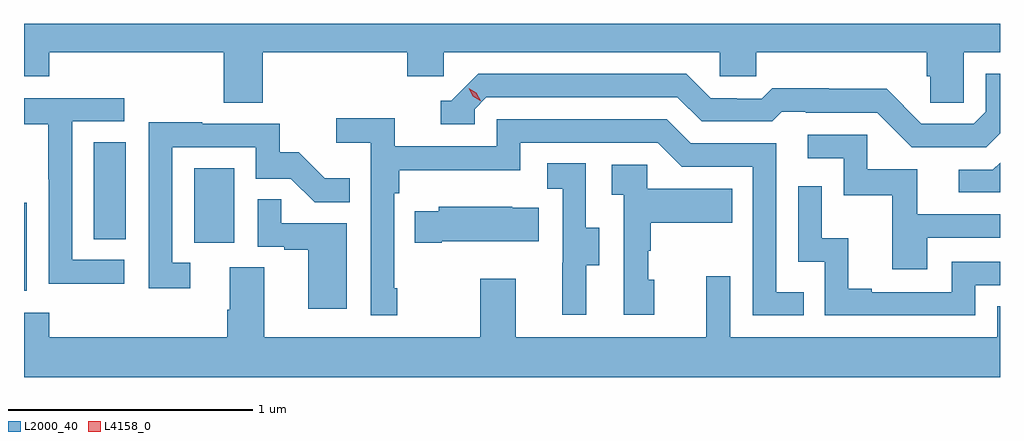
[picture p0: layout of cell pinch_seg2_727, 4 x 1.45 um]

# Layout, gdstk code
import gdstk
lib = gdstk.Library(unit=1e-6, precision=1e-09)
def R(c, l, rs):  # rectangles x0, y0, x1, y1
    for r in rs: c.add(gdstk.rectangle(r[:2], r[2:], *l))
def P(c, l, *ps):  # polygons
    for p in ps: c.add(gdstk.Polygon(p, *l))
L2000_40 = (2000, 40)
L4158_0 = (4158, 0)

pinch_seg2_727 = lib.new_cell('pinch_seg2_727')
R(pinch_seg2_727, L2000_40, [(884.569,665.306,884.581,665.667), (885.266,665.502,885.43,665.809), (884.855,665.518,884.986,665.915)])
P(pinch_seg2_727, L2000_40, [(885.548,666.284),(886.139,666.284),(886.139,666.186),(886.29,666.186),(886.29,666.284),(887.421,666.284),(887.421,666.186),(887.571,666.186),(887.571,666.284),(888.269,666.284),(888.269,666.186),(888.283,666.186),(888.283,666.076),(888.42,666.076),(888.42,666.284),(888.569,666.284),(888.569,666.4),(884.569,666.4),(884.569,666.185),(884.672,666.185),(884.672,666.284),(885.388,666.284),(885.388,666.076),(885.548,666.076)],
  [(888.569,665.951),(888.569,666.195),(888.51,666.195),(888.51,666.039),(888.462,665.991),(888.246,665.991),(888.104,666.133),(887.868,666.133),(887.868,666.136),(887.635,666.136),(887.593,666.093),(887.49,666.093),(887.49,666.096),(887.383,666.096),(887.284,666.195),(886.431,666.195),(886.32,666.084),(886.277,666.084),(886.277,665.988),(886.416,665.988),(886.416,666.051),(886.464,666.099),(887.247,666.099),(887.346,666),(887.635,666),(887.674,666.039),(887.773,666.039),(887.773,666.036),(888.066,666.036),(888.207,665.895),(888.513,665.895)],
  [(884.98,665.433),(884.766,665.433),(884.766,666),(884.98,666),(884.98,666.096),(884.569,666.096),(884.569,665.988),(884.668,665.988),(884.668,665.764),(884.67,665.764),(884.67,665.335),(884.98,665.335)],
  [(886.099,665.317),(886.086,665.317),(886.086,665.705),(886.106,665.705),(886.106,665.801),(886.602,665.801),(886.602,665.913),(887.166,665.913),(887.265,665.814),(887.556,665.814),(887.556,665.205),(887.765,665.205),(887.765,665.301),(887.652,665.301),(887.652,665.91),(887.302,665.91),(887.203,666.009),(886.506,666.009),(886.506,665.898),(886.088,665.898),(886.088,666.014),(885.849,666.014),(885.849,665.912),(885.99,665.912),(885.99,665.205),(886.099,665.205)],
  [(885.25,665.421),(885.177,665.421),(885.177,665.895),(885.519,665.895),(885.519,665.766),(885.663,665.766),(885.761,665.668),(885.905,665.668),(885.905,665.767),(885.801,665.767),(885.694,665.874),(885.618,665.874),(885.618,665.991),(885.299,665.991),(885.299,665.996),(885.081,665.996),(885.081,665.316),(885.25,665.316)],
  [(888.271,665.523),(888.569,665.523),(888.569,665.619),(888.229,665.619),(888.229,665.805),(888.024,665.805),(888.024,665.946),(887.781,665.946),(887.781,665.85),(887.928,665.85),(887.928,665.697),(888.127,665.697),(888.127,665.394),(888.271,665.394)],
  [(888.569,665.831),(888.54,665.802),(888.399,665.802),(888.399,665.709),(888.569,665.709)],
  [(886.873,665.41),(886.927,665.41),(886.927,665.565),(886.872,665.565),(886.872,665.828),(886.713,665.828),(886.713,665.725),(886.776,665.725),(886.776,665.421),(886.775,665.421),(886.775,665.208),(886.873,665.208)],
  [(887.152,665.352),(887.127,665.352),(887.127,665.471),(887.137,665.471),(887.137,665.585),(887.471,665.585),(887.471,665.725),(887.124,665.725),(887.124,665.823),(886.977,665.823),(886.977,665.699),(887.028,665.699),(887.028,665.208),(887.152,665.208)],
  [(888.468,665.328),(888.569,665.328),(888.569,665.424),(888.372,665.424),(888.372,665.301),(888.043,665.301),(888.043,665.314),(887.948,665.314),(887.948,665.522),(887.838,665.522),(887.838,665.734),(887.742,665.734),(887.742,665.424),(887.85,665.424),(887.85,665.205),(888.468,665.205)],
  [(885.892,665.583),(885.623,665.583),(885.623,665.681),(885.528,665.681),(885.528,665.487),(885.635,665.487),(885.635,665.475),(885.734,665.475),(885.734,665.232),(885.892,665.232)],
  [(886.282,665.51),(886.679,665.51),(886.679,665.647),(886.571,665.647),(886.571,665.65),(886.269,665.65),(886.269,665.632),(886.171,665.632),(886.171,665.503),(886.282,665.503)],
  [(888.569,665.243),(888.558,665.243),(888.558,665.116),(887.463,665.116),(887.463,665.365),(887.366,665.365),(887.366,665.116),(886.585,665.116),(886.585,665.356),(886.438,665.356),(886.438,665.116),(885.553,665.116),(885.553,665.402),(885.413,665.402),(885.413,665.228),(885.401,665.228),(885.401,665.116),(884.672,665.116),(884.672,665.215),(884.569,665.215),(884.569,664.952),(888.569,664.952)])
P(pinch_seg2_727, L4158_0, [(886.439,666.085),(886.408,666.104),(886.392,666.136),(886.392,666.136),(886.392,666.136),(886.423,666.117),(886.44,666.085),(886.44,666.085)])

lib.write_gds('pinch_seg2_727.gds')
